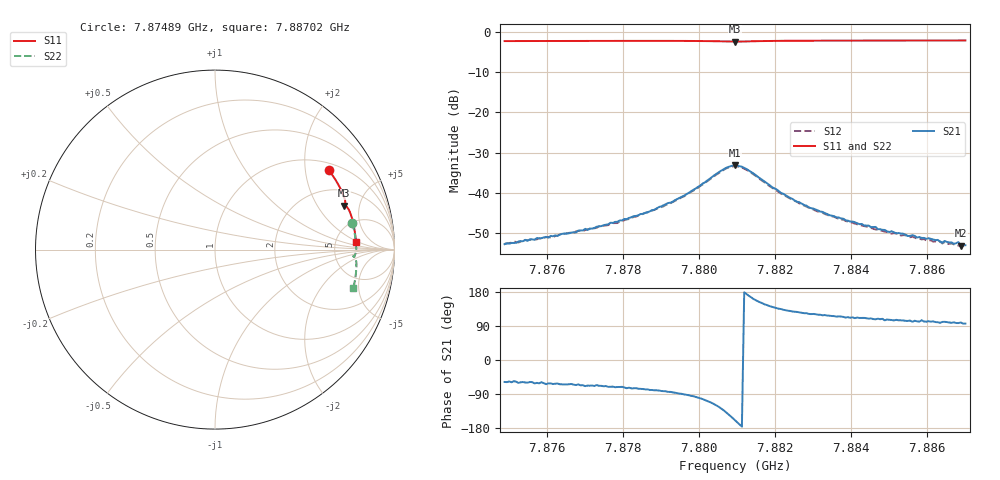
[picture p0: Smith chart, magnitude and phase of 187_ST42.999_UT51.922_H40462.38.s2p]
#  HZ  S  DB  R  50.00
! Rohde & Schwarz Vector Network Analyzer
! Rohde-Schwarz,ZNB20-2Port,1311601062101988,3.16
! Created: UTC 1/12/2023, 6:43:16 PM
! freq[Hz]  db:S11  ang:S11  db:S21  ang:S21  db:S12  ang:S12  db:S22  ang:S22
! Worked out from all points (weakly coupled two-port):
!   201 points, 7.87489 GHz to 7.88702 GHz, reference 50 ohm
!   highest |S21| = -33.23 dB at 7.88095 GHz (marker M1); lowest = -53.2 dB at 7.8869 GHz (marker M2)
!   lowest |S11| = -2.4 dB at 7.88095 GHz (marker M3), VSWR 7.37, Z = 152 + j177 ohm
!   |S11| at or under -10 dB: nowhere
!   |S22| runs from -2.3 to -1.9 dB; largest |S21 - S12| = 0.0014
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7.874887e9  -2.24 34.8  -52.83 -57.9  -52.76 -60.3  -2.17 10.9
7.876949e9  -2.20 29.2  -49.39 -66.5  -49.58 -70.2  -2.12 6.0
7.877859e9  -2.20 26.7  -47.26 -71.3  -47.57 -75.5  -2.10 3.9
7.878951e9  -2.19 23.6  -43.57 -80.6  -43.85 -85.0  -2.08 1.3
7.879618e9  -2.20 21.7  -40.70 -90.9  -40.89 -94.0  -2.09 -0.3
7.88071e9  -2.34 18.9  -33.86 -137.4  -34.01 -140.7  -2.23 -2.8
7.880953e9  -2.37 18.8  -33.23 -159.1  -33.42 -162.3  -2.27 -2.8
7.881135e9  -2.35 18.7  -33.54 -175.8  -33.75 -179.2  -2.25 -2.7
7.881317e9  -2.31 18.5  -34.48 169.4  -34.61 166.1  -2.20 -2.8
7.882166e9  -2.17 16.2  -40.07 134.4  -40.26 130.6  -2.06 -4.7
7.883015e9  -2.14 13.8  -43.97 121.5  -44.21 118.0  -2.01 -6.7
7.883743e9  -2.12 11.8  -46.41 114.7  -46.81 110.6  -1.99 -8.4
7.885016e9  -2.10 8.5  -49.80 106.0  -49.97 104.1  -1.96 -11.3
7.88629e9  -2.09 5.1  -51.77 99.6  -52.37 97.1  -1.95 -14.0
7.886351e9  -2.09 5.0  -52.18 98.1  -52.17 97.9  -1.96 -14.2
7.886411e9  -2.08 4.8  -52.43 100.5  -52.66 93.2  -1.95 -14.3
7.886472e9  -2.08 4.7  -52.03 100.7  -52.31 96.6  -1.95 -14.5
7.886533e9  -2.08 4.5  -52.29 100.0  -52.78 96.5  -1.94 -14.6
7.886715e9  -2.08 4.0  -52.75 99.5  -52.89 95.6  -1.95 -15.0
7.886836e9  -2.08 3.7  -52.31 97.5  -53.19 94.3  -1.94 -15.2
7.886897e9  -2.08 3.6  -53.18 99.1  -53.31 96.1  -1.94 -15.3
7.887018e9  -2.08 3.2  -53.09 95.9  -53.33 93.8  -1.94 -15.6
